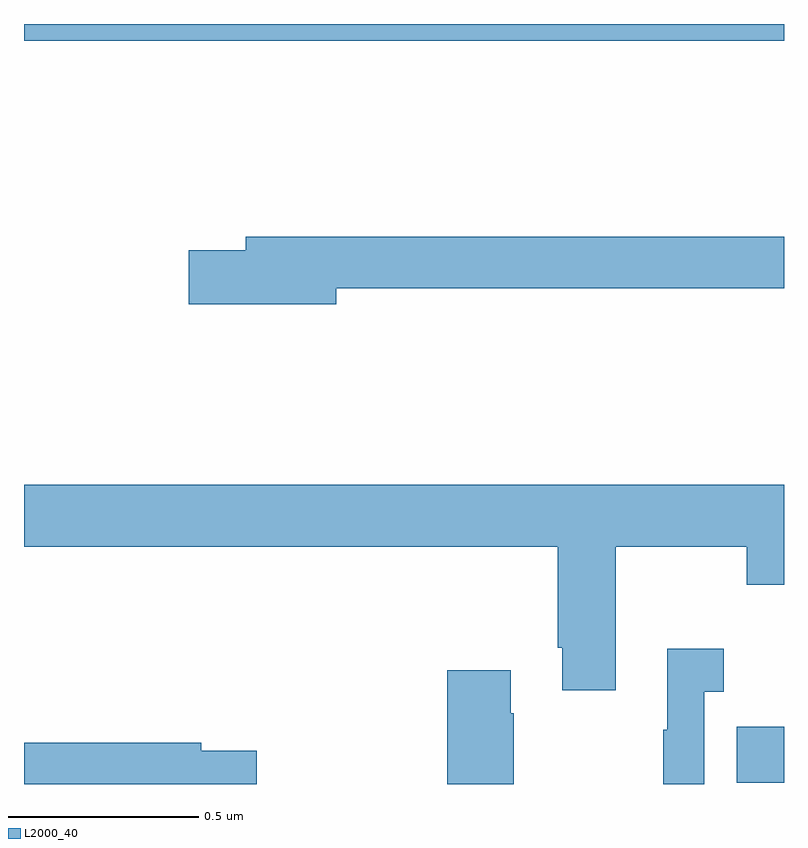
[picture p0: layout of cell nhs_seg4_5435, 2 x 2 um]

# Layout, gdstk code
import gdstk
lib = gdstk.Library(unit=1e-6, precision=1e-09)
def R(c, l, rs):  # rectangles x0, y0, x1, y1
    for r in rs: c.add(gdstk.rectangle(r[:2], r[2:], *l))
def P(c, l, *ps):  # polygons
    for p in ps: c.add(gdstk.Polygon(p, *l))
L2000_40 = (2000, 40)

nhs_seg4_5435 = lib.new_cell('nhs_seg4_5435')
R(nhs_seg4_5435, L2000_40, [(179.875,758.903,180,759.051), (178,760.856,180,760.9)])
P(nhs_seg4_5435, L2000_40, [(178.822,760.204),(180,760.204),(180,760.34),(178.583,760.34),(178.583,760.304),(178.434,760.304),(178.434,760.162),(178.822,760.162)],
  [(179.557,759.524),(179.902,759.524),(179.902,759.425),(180,759.425),(180,759.688),(178,759.688),(178,759.524),(179.405,759.524),(179.405,759.259),(179.417,759.259),(179.417,759.147),(179.557,759.147)],
  [(179.79,759.143),(179.842,759.143),(179.842,759.256),(179.693,759.256),(179.693,759.043),(179.682,759.043),(179.682,758.9),(179.79,758.9)],
  [(179.289,759.086),(179.281,759.086),(179.281,759.199),(179.114,759.199),(179.114,758.9),(179.289,758.9)],
  [(178.613,758.988),(178.466,758.988),(178.466,759.008),(178,759.008),(178,758.9),(178.613,758.9)])

lib.write_gds('nhs_seg4_5435.gds')
